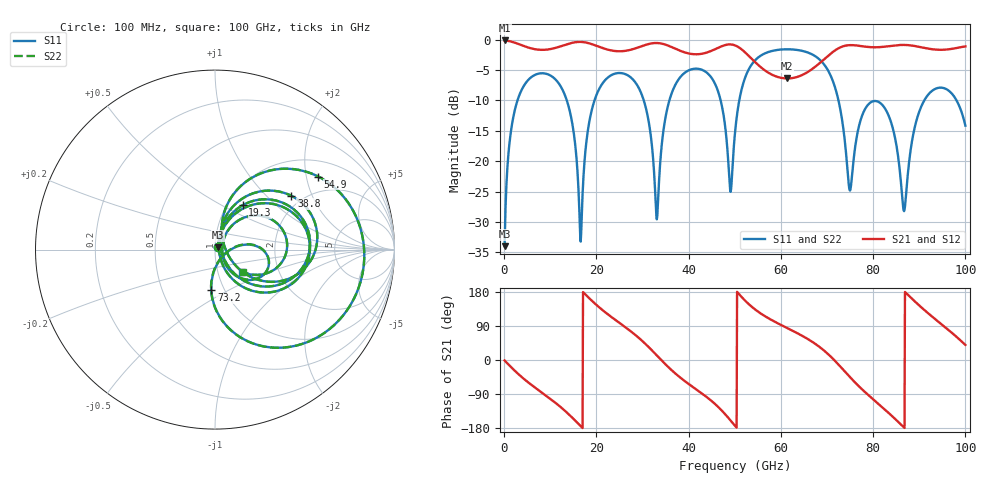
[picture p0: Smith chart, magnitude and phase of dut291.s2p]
! Touchstone file exported from HFSS 2026.1.0
!  File:  C:/ffzhzh/LocalFiles/Ansys_Project_Files/temp_train_TSV_RDL_291_1783680748_33328.aedt
!  Generated:  07:04:56 PM Jul 10, 2026
!  Design:  TSV_RDL
!  Project:  temp_train_TSV_RDL_291_1783680748_33328
! Variables:
!  h_bsmrdl = 3.25um
!  h_ox = 20um
!  h_rdl = 5um
!  h_sub = 59.59um
!  h_tmrdl = 4.36um
!  h_tsv = 59.59um
!  h_via = 3um
!  l_bsmrdl = 129.05um
!  l_sub = 3681.71um
!  l_tmrdl = 695.11um
!  m_sub = 200um
!  pitch = 47.3um
!  r_tsv = 10.27um
!  s_tmrdl = 10um
!  w_bsmrdl = 18.71um
!  w_sub = 500um
!  w_tmrdl = 19.33um
!  x_tsv_center1 = 704.775um
!  x_tsv_center2 = 852.535um
!  x_tsv_center3 = 1566.975um
!  x_tsv_center4 = 1714.735um
!  x_tsv_center5 = 2429.175um
!  x_tsv_center6 = 2576.935um
# GHz S MA R 50.000000
! Terminal data exported
! Port[1] = TM_RDL1_1_T1
! Port[2] = TM_RDL5_1_T1
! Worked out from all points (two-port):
!   1000 points, 100 MHz to 100 GHz, reference 50 ohm
!   highest |S21| = -0.13 dB at 100 MHz (marker M1); lowest = -6.4 dB at 61.4 GHz (marker M2)
!   |S21| within 3 dB of the highest: start of sweep to 53.65 GHz; 69.5 GHz to end of sweep
!   lowest |S11| = -34.0 dB at 100 MHz (marker M3), VSWR 1.04, Z = 51.5 + j1.33 ohm
!   |S11| at or under -10 dB: 13.59 GHz to 19.59 GHz (6.002 GHz wide, 36.2 % of centre); 30.27 GHz to 35.82 GHz (5.548 GHz wide, 16.8 % of centre); 72.48 GHz to 91.08 GHz (18.6 GHz wide, 22.7 % of centre) (the widest 3 of 6)
!   |S22| runs from -34.0 to -1.6 dB; largest |S21 - S12| = 6.9e-13
!   S11 on the Smith chart (normalised r, x): 100 MHz: 1.03, +0.03; 19.3 GHz: 1.18, +0.64; 38.8 GHz: 1.74, +1.43; 54.9 GHz: 1.45, +2.35; 73.2 GHz: 0.87, -0.41; 100 GHz: 1.31, -0.34
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0.1  0.02001 40.0  0.9849 -1.3  0.9849 -1.3  0.02001 40.0
! Gamma 0 0 0 0
! Port Impedance 50 0 50 0
2.3  0.2622 57.3  0.9446 -28.3  0.9446 -28.3  0.2622 57.3
7.6  0.5266 7.2  0.8262 -80.9  0.8262 -80.9  0.5266 7.2
13.6  0.315 -47.2  0.9165 -138.7  0.9165 -138.7  0.3149 -47.2
16.8  0.03342 50.9  0.957 -177.0  0.957 -177.0  0.03355 50.9
19.3  0.2913 58.1  0.9105 153.1  0.9105 153.1  0.2914 58.1
28.4  0.4473 -22.4  0.8465 66.5  0.8465 66.5  0.4473 -22.3
33.4  0.04997 55.4  0.937 8.3  0.937 8.3  0.05034 55.0
38.8  0.5203 35.2  0.7936 -52.3  0.7936 -52.3  0.5204 35.1
45.9  0.4188 -24.2  0.8401 -118.1  0.8401 -118.1  0.4188 -24.2
49  0.05801 4.4  0.9141 -158.3  0.9141 -158.3  0.05771 4.4
50.1  0.1795 76.0  0.8958 -174.3  0.8958 -174.3  0.1794 76.1
54.9  0.7045 35.3  0.628 128.9  0.628 128.9  0.7046 35.3
61.4  0.8333 -6.2  0.4794 84.2  0.4794 84.2  0.8334 -6.1
66.7  0.7588 -38.9  0.5702 48.7  0.5702 48.7  0.7589 -38.9
73.2  0.2271 -95.1  0.8739 -21.6  0.8739 -21.6  0.2268 -95.5
75  0.05741 -38.6  0.9014 -45.6  0.9014 -45.6  0.05536 -38.4
78.3  0.2708 -1.2  0.8758 -85.3  0.8758 -85.3  0.2705 -0.7
83.4  0.235 -45.1  0.8842 -140.1  0.8842 -140.1  0.235 -44.6
86.7  0.03883 0.4  0.905 -178.1  0.905 -178.1  0.04058 0.9
91.8  0.3478 30.3  0.8455 124.6  0.8455 124.6  0.3481 30.3
100  0.1961 -39.0  0.8806 39.8  0.8806 39.8  0.1965 -38.6
